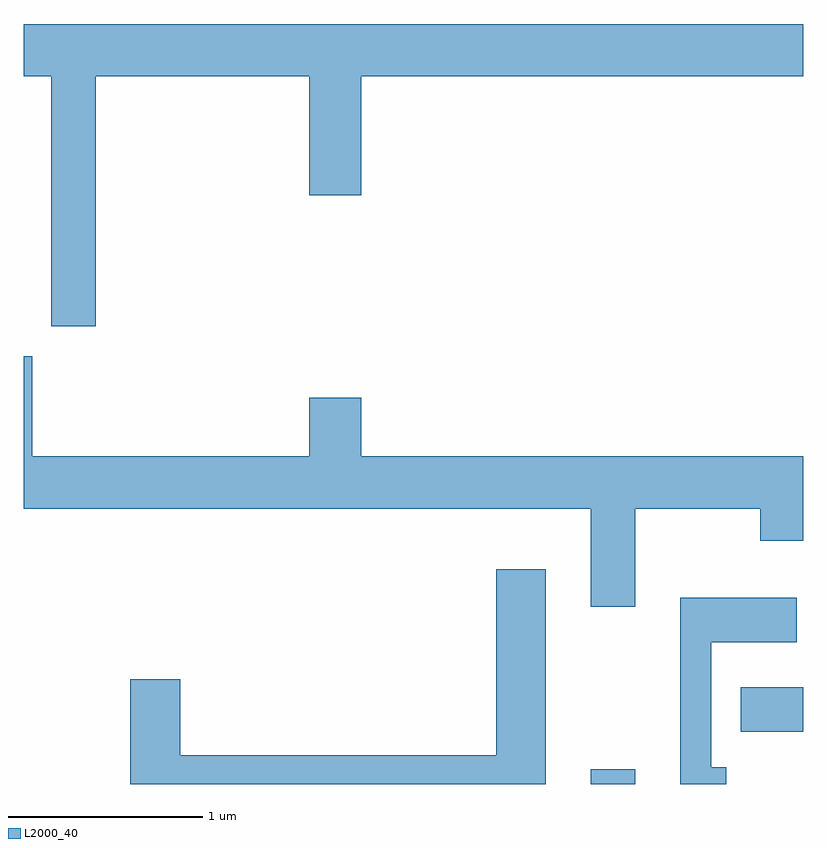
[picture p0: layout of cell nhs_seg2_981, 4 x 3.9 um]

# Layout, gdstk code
import gdstk
lib = gdstk.Library(unit=1e-6, precision=1e-09)
def R(c, l, rs):  # rectangles x0, y0, x1, y1
    for r in rs: c.add(gdstk.rectangle(r[:2], r[2:], *l))
def P(c, l, *ps):  # polygons
    for p in ps: c.add(gdstk.Polygon(p, *l))
L2000_40 = (2000, 40)

nhs_seg2_981 = lib.new_cell('nhs_seg2_981')
R(nhs_seg2_981, L2000_40, [(216.521,1035.802,216.749,1035.879), (217.291,1036.071,217.611,1036.299)])
P(nhs_seg2_981, L2000_40, [(213.979,1039.436),(215.076,1039.436),(215.076,1038.826),(215.344,1038.826),(215.344,1039.436),(217.611,1039.436),(217.611,1039.704),(213.611,1039.704),(213.611,1039.436),(213.751,1039.436),(213.751,1038.151),(213.979,1038.151)],
  [(216.749,1037.216),(217.391,1037.216),(217.391,1037.051),(217.611,1037.051),(217.611,1037.484),(215.344,1037.484),(215.344,1037.784),(215.076,1037.784),(215.076,1037.484),(213.654,1037.484),(213.654,1037.999),(213.611,1037.999),(213.611,1037.216),(216.521,1037.216),(216.521,1036.711),(216.749,1036.711)],
  [(216.289,1036.904),(216.036,1036.904),(216.036,1035.949),(214.414,1035.949),(214.414,1036.339),(214.156,1036.339),(214.156,1035.802),(216.289,1035.802)],
  [(217.218,1035.889),(217.139,1035.889),(217.139,1036.531),(217.579,1036.531),(217.579,1036.759),(216.981,1036.759),(216.981,1035.802),(217.218,1035.802)])

lib.write_gds('nhs_seg2_981.gds')
